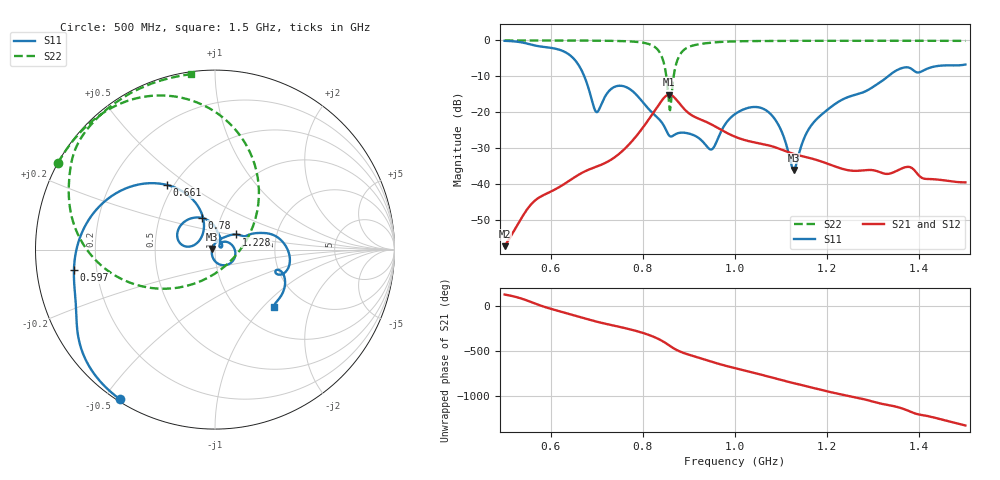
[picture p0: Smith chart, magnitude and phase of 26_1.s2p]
! TOUCHSTONE file generated by CST MICROWAVE STUDIO
! Date and time: Mon Oct 26 12:08:25 2020
! Project name: Scenario_1_Circular_Tissue_out_of_Line_v2.cst
! Parameters = {dy1=86.5; L_HA=400; MT=2.54; Rad_Dielectric=30; Rad_Lower=7.3; Rad_Upper=30; a_HA=580; a_WG=246; b_HA=500; b_WG=121; c_HA=0; c_WG=187; d_feed=85; dx1=173; h_feed=15; h_lower=18; h_upper=40}
! Header version: 2018
! Port assignment regex: !\s*Touchstone port\s*([0-9]+)\s*=\s*(CST MWS port|CST DS port)\s*([0-9]+|Zmin|Zmax)\s*\(\"(.*)\"\)(\s*mode\s*([0-9]+))?.*
! Touchstone port assignment:
! Touchstone port 1 = CST MWS port 1 ("")
! Touchstone port 2 = CST MWS port 2 ("")
# GHz S DB R 50
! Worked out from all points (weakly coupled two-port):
!   1003 points, 500 MHz to 1.5 GHz, reference 50 ohm
!   highest |S21| = -15.11 dB at 857 MHz (marker M1); lowest = -57.3 dB at 500 MHz (marker M2)
!   lowest |S11| = -36.1 dB at 1.127 GHz (marker M3), VSWR 1.03, Z = 48.5 + j0.292 ohm
!   |S11| at or under -10 dB: 673 MHz to 1.332 GHz (659.2 MHz wide, 65.7 % of centre)
!   |S22| runs from -19.4 to 0.0 dB; largest |S21 - S12| = 2.8e-05
!   S11 on the Smith chart (normalised r, x): 500 MHz: 0.01, -0.55; 597 MHz: 0.12, -0.07; 661 MHz: 0.46, +0.41; 780 MHz: 0.82, +0.30; 1.228 GHz: 1.24, +0.21; 1.5 GHz: 1.43, -1.17
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0.5  -0.11 -122.5  -57.30 128.9  -57.30 128.9  -0.01 151.1
0.556  -1.11 -150.9  -45.87 48.7  -45.87 48.7  -0.01 147.3
0.597  -2.00 -171.8  -42.30 -25.0  -42.30 -25.0  -0.02 144.3
0.628  -3.04 162.9  -40.11 -69.2  -40.11 -69.2  -0.03 141.9
0.661  -6.94 126.7  -37.38 -116.9  -37.38 -116.9  -0.04 139.0
0.667  -8.31 120.3  -36.94 -125.9  -36.94 -125.9  -0.04 138.4
0.699  -19.94 142.3  -35.17 -171.9  -35.17 -171.9  -0.07 135.0
0.738  -12.96 159.6  -32.62 141.9  -32.62 141.9  -0.13 129.7
0.78  -14.39 112.5  -27.53 91.3  -27.53 91.3  -0.34 120.6
0.834  -21.78 71.9  -17.99 -5.9  -17.99 -5.9  -2.85 84.8
0.846  -23.84 61.8  -15.96 -39.8  -15.96 -39.8  -6.53 59.9
0.857  -26.48 63.0  -15.11 -76.7  -15.11 -76.7  -17.88 -9.3
0.869  -26.26 69.0  -15.98 -116.0  -15.98 -116.0  -8.38 -145.2
0.893  -25.75 49.5  -19.52 -169.3  -19.52 -169.3  -2.27 173.4
0.949  -30.37 32.7  -23.41 101.4  -23.41 101.4  -0.62 149.5
1  -20.52 19.0  -26.81 29.5  -26.81 29.5  -0.26 140.4
1.075  -20.22 -63.2  -29.29 -68.2  -29.29 -68.2  -0.15 132.0
1.127  -36.05 169.0  -31.60 -136.5  -31.60 -136.5  -0.11 127.4
1.167  -23.41 62.3  -32.92 173.6  -32.92 173.6  -0.10 124.2
1.228  -16.82 35.8  -35.57 99.4  -35.57 99.4  -0.09 119.6
1.334  -9.81 15.5  -37.14 -22.2  -37.14 -22.2  -0.08 111.5
1.5  -6.72 -44.2  -39.52 111.7  -39.54 111.6  -0.12 97.9
